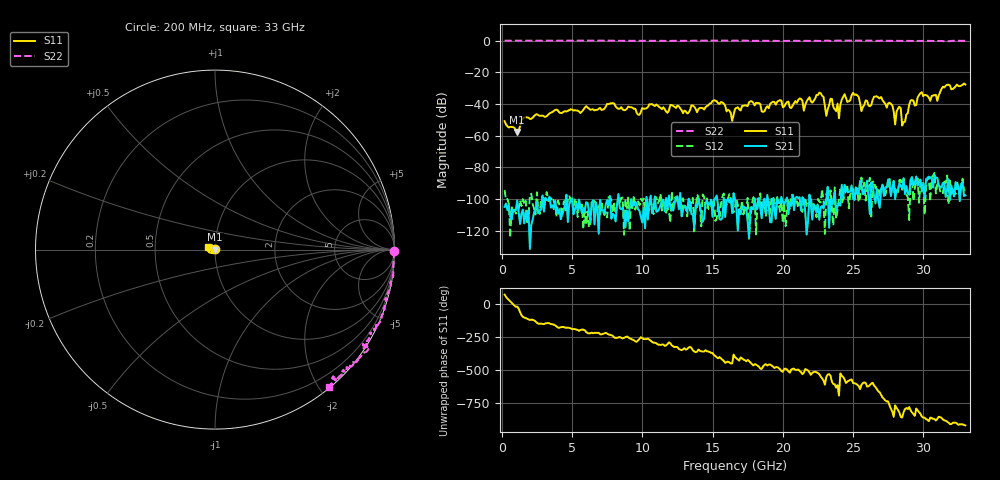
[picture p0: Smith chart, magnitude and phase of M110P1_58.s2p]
# GHZ S RI R 50
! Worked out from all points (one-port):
!   329 points, 200 MHz to 33 GHz, reference 50 ohm
!   lowest |S11| = -57.7 dB at 1.1 GHz (marker M1), VSWR 1.00, Z = 50.1 - j0.0433 ohm
!   |S11| at or under -10 dB: start of sweep to end of sweep
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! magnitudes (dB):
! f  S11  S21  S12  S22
! 200 MHz  -50.9  -105.0  -94.4  0.0
! 1.1 GHz  -57.7  -100.9  -108.8  0.0
! 1.6 GHz  -48.4  -115.4  -103.3  0.0
! 5.7 GHz  -44.8  -108.8  -103.5  0.0
! 11.2 GHz  -41.8  -106.3  -101.2  -0.1
! 15.1 GHz  -37.6  -101.1  -99.6  0.0
! 16.4 GHz  -50.7  -108.9  -104.3  0.0
! 16.6 GHz  -43.2  -100.2  -104.9  0.0
! 22.1 GHz  -39.1  -113.0  -105.8  0.0
! 22.7 GHz  -33.2  -105.1  -102.2  -0.2
! 23.1 GHz  -47.5  -100.7  -96.6  0.0
! 23.5 GHz  -36.7  -103.7  -106.1  -0.2
! 24 GHz  -49.0  -102.6  -99.9  0.2
! 24.4 GHz  -33.8  -91.0  -98.6  0.0
! 25.4 GHz  -35.4  -96.8  -102.1  0.0
! 25.6 GHz  -44.5  -91.2  -86.5  0.0
! 27.6 GHz  -39.2  -90.6  -86.5  0.0
! 28 GHz  -52.9  -100.2  -93.3  -0.1
! 28.4 GHz  -42.8  -92.0  -87.9  -0.1
! 28.5 GHz  -53.6  -93.1  -94.2  -0.2
! 29.8 GHz  -33.1  -87.7  -90.1  -0.1
! 33 GHz  -27.7  -97.6  -94.3  0.0
